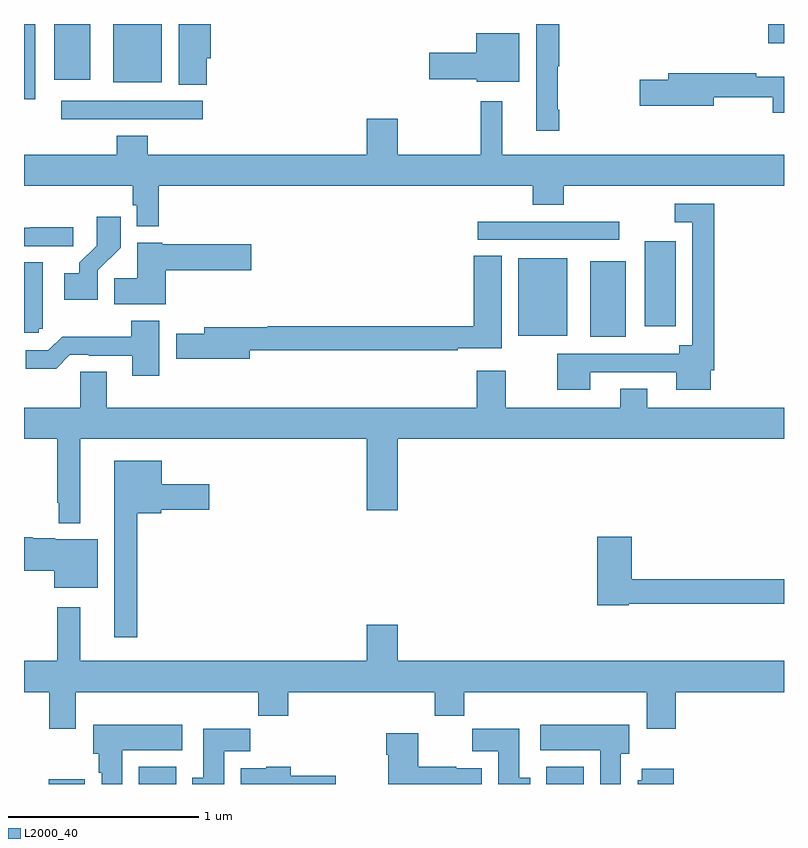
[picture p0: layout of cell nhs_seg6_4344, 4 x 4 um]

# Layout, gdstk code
import gdstk
lib = gdstk.Library(unit=1e-6, precision=1e-09)
def R(c, l, rs):  # rectangles x0, y0, x1, y1
    for r in rs: c.add(gdstk.rectangle(r[:2], r[2:], *l))
def P(c, l, *ps):  # polygons
    for p in ps: c.add(gdstk.Polygon(p, *l))
L2000_40 = (2000, 40)

nhs_seg6_4344 = lib.new_cell('nhs_seg6_4344')
R(nhs_seg6_4344, L2000_40, [(367.13,965.5,367.321,965.524), (367.604,965.5,367.801,965.59), (369.749,965.5,369.946,965.59), (369.98,967.853,370.168,968.251), (369.602,967.859,369.859,968.266), (370.268,967.908,370.429,968.356), (369.387,968.364,370.132,968.46), (367.197,969,367.942,969.096), (367,969.105,367.06,969.5), (367.469,969.194,367.726,969.5), (367.16,969.206,367.348,969.5), (370.916,969.398,371,969.5)])
P(nhs_seg6_4344, L2000_40, [(369.817,969.049),(369.809,969.049),(369.809,969.278),(369.817,969.278),(369.817,969.5),(369.695,969.5),(369.695,968.937),(369.817,968.937)],
  [(367.961,969.321),(367.982,969.321),(367.982,969.5),(367.814,969.5),(367.814,969.181),(367.961,969.181)],
  [(369.607,969.451),(369.38,969.451),(369.38,969.35),(369.132,969.35),(369.132,969.208),(369.384,969.208),(369.384,969.197),(369.607,969.197)],
  [(371,969.223),(370.853,969.223),(370.853,969.242),(370.391,969.242),(370.391,969.206),(370.242,969.206),(370.242,969.071),(370.63,969.071),(370.63,969.114),(370.942,969.114),(370.942,969.032),(371,969.032)],
  [(367.709,968.648),(369.677,968.648),(369.677,968.549),(369.842,968.549),(369.842,968.648),(371,968.648),(371,968.812),(369.517,968.812),(369.517,969.094),(369.403,969.094),(369.403,968.812),(368.968,968.812),(368.968,969.001),(368.804,969.001),(368.804,968.812),(367.652,968.812),(367.652,968.911),(367.487,968.911),(367.487,968.812),(367,968.812),(367,968.648),(367.573,968.648),(367.573,968.547),(367.593,968.547),(367.593,968.435),(367.709,968.435)],
  [(369.979,967.668),(370.433,967.668),(370.433,967.574),(370.615,967.574),(370.615,967.678),(370.634,967.678),(370.634,968.553),(370.425,968.553),(370.425,968.457),(370.518,968.457),(370.518,967.81),(370.448,967.81),(370.448,967.764),(369.806,967.764),(369.806,967.574),(369.979,967.574)],
  [(367.389,968.203),(367.508,968.322),(367.508,968.485),(367.383,968.485),(367.383,968.333),(367.292,968.243),(367.292,968.188),(367.212,968.188),(367.212,968.048),(367.389,968.048)],
  [(367.258,968.43),(367.033,968.43),(367.033,968.427),(367,968.427),(367,968.331),(367.258,968.331)],
  [(367.745,968.203),(368.197,968.203),(368.197,968.34),(367.728,968.34),(367.728,968.35),(367.595,968.35),(367.595,968.162),(367.474,968.162),(367.474,968.024),(367.745,968.024)],
  [(368.188,967.782),(369.284,967.782),(369.284,967.794),(369.514,967.794),(369.514,968.279),(369.368,968.279),(369.368,967.91),(368.284,967.91),(368.284,967.903),(367.949,967.903),(367.949,967.869),(367.8,967.869),(367.8,967.739),(368.188,967.739)],
  [(367.077,967.896),(367.099,967.896),(367.099,968.245),(367,968.245),(367,967.875),(367.077,967.875)],
  [(367.711,967.939),(367.564,967.939),(367.564,967.855),(367.201,967.855),(367.128,967.782),(367.008,967.782),(367.008,967.685),(367.169,967.685),(367.242,967.758),(367.342,967.758),(367.342,967.755),(367.571,967.755),(367.571,967.65),(367.711,967.65)],
  [(367.297,967.316),(368.804,967.316),(368.804,966.942),(368.968,966.942),(368.968,967.316),(371,967.316),(371,967.48),(370.279,967.48),(370.279,967.579),(370.139,967.579),(370.139,967.48),(369.535,967.48),(369.535,967.675),(369.383,967.675),(369.383,967.48),(367.435,967.48),(367.435,967.67),(367.296,967.67),(367.296,967.48),(367,967.48),(367,967.316),(367.176,967.316),(367.176,966.979),(367.183,966.979),(367.183,966.872),(367.297,966.872)],
  [(367.597,966.926),(367.722,966.926),(367.722,966.944),(367.975,966.944),(367.975,967.078),(367.726,967.078),(367.726,967.201),(367.475,967.201),(367.475,966.273),(367.597,966.273)],
  [(370.182,966.45),(371,966.45),(371,966.578),(370.199,966.578),(370.199,966.802),(370.016,966.802),(370.016,966.442),(370.182,966.442)],
  [(367.387,966.787),(367.164,966.787),(367.164,966.793),(367.045,966.793),(367.045,966.8),(367,966.8),(367,966.622),(367.16,966.622),(367.16,966.533),(367.387,966.533)],
  [(367.273,965.984),(368.233,965.984),(368.233,965.86),(368.39,965.86),(368.39,965.984),(369.161,965.984),(369.161,965.86),(369.317,965.86),(369.317,965.984),(370.277,965.984),(370.277,965.79),(370.43,965.79),(370.43,965.984),(371,965.984),(371,966.148),(368.968,966.148),(368.968,966.337),(368.804,966.337),(368.804,966.148),(367.297,966.148),(367.297,966.43),(367.176,966.43),(367.176,966.148),(367,966.148),(367,965.984),(367.133,965.984),(367.133,965.79),(367.273,965.79)],
  [(367.516,965.678),(367.834,965.678),(367.834,965.812),(367.364,965.812),(367.364,965.658),(367.394,965.658),(367.394,965.558),(367.409,965.558),(367.409,965.5),(367.516,965.5)],
  [(370.141,965.658),(370.186,965.658),(370.186,965.812),(369.717,965.812),(369.717,965.678),(370.034,965.678),(370.034,965.5),(370.141,965.5)],
  [(369.664,965.532),(369.607,965.532),(369.607,965.791),(369.358,965.791),(369.358,965.672),(369.497,965.672),(369.497,965.5),(369.664,965.5)],
  [(368.053,965.672),(368.192,965.672),(368.192,965.791),(367.943,965.791),(367.943,965.532),(367.886,965.532),(367.886,965.5),(368.053,965.5)],
  [(369.409,965.584),(369.276,965.584),(369.276,965.59),(369.076,965.59),(369.076,965.767),(368.906,965.767),(368.906,965.654),(368.918,965.654),(368.918,965.5),(369.409,965.5)],
  [(368.641,965.544),(368.405,965.544),(368.405,965.59),(368.274,965.59),(368.274,965.584),(368.141,965.584),(368.141,965.5),(368.641,965.5)],
  [(370.421,965.581),(370.25,965.581),(370.25,965.52),(370.229,965.52),(370.229,965.5),(370.421,965.5)])

lib.write_gds('nhs_seg6_4344.gds')
